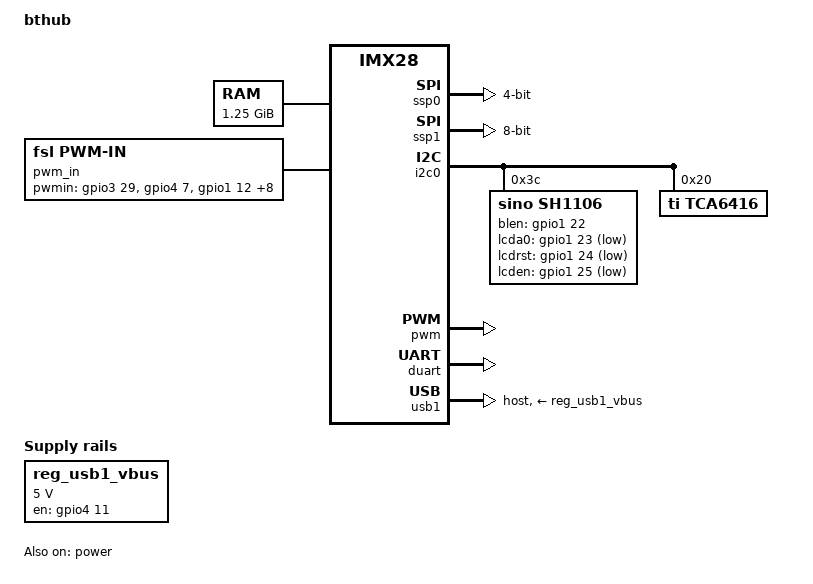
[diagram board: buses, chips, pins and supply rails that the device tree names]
/*
 * Copyright 2012 Freescale Semiconductor, Inc.
 *
 * The code contained herein is licensed under the GNU General Public
 * License. You may obtain a copy of the GNU General Public License
 * Version 2 or later at the following locations:
 *
 * http://www.opensource.org/licenses/gpl-license.html
 * http://www.gnu.org/copyleft/gpl.html
 */

/dts-v1/;
/include/ "imx28.dtsi"

/ {
	model = "bthub";
	compatible = "intelgine,whitetiger", "fsl,imx28";

	memory {
		reg = <0x40000000 0x50000000>;
	};

	apb@80000000 {
		apbh@80000000 {
			ssp0: ssp@80010000 {
				compatible = "fsl,imx28-mmc";
				pinctrl-names = "default";
				pinctrl-0 = <&mmc0_4bit_pins_wt
					&mmc0_sck_cfg>;
				bus-width = <4>;
				status = "okay";
			};

			ssp1: ssp@80012000 {
				compatible = "fsl,imx28-mmc";
				pinctrl-names = "default";
				pinctrl-0 = <&mmc1_8bit_pins_a
					&mmc1_sck_cfg>;
				bus-width = <8>;
				mmc-reset-gpios = <&gpio0 28 1>;
				mmc-reset-duration = <5>;
				status = "okay";
			};

			pinctrl@80018000 {
				pinctrl-names = "default";
				pinctrl-0 = <&hog_pins_a>;
				/*ext-supply = <&reg_ext_3v3>;*/

				hog_pins_a: hog@0 {
					reg = <0>;
					fsl,pinmux-ids = <
						0x3103 /* MX28_PAD_PWM3__GPIO_3_28 */
					>;
					fsl,drive-strength = <0>;
					fsl,voltage = <1>;
					fsl,pull-up = <0>;
				};

        /*                pwm0        dir0       but0        pwm1        dir1       but1        pwm2        dir2       but2        flyswitch  button        */
        /* pwmin-gpios = <&gpio3 18   &gpio4 4   &gpio1 14   &gpio3 28   &gpio4 6   &gpio1 13   &gpio3 29   &gpio4 7   &gpio1 12   &gpio4 3   &gpio1 15  >; */
				pwm_in_pins: pwm-in@0 {
					reg = <0>;
					fsl,pinmux-ids = <
						0x3123 /* GPIO_3_18, PWM2 */
                        0x4043 /* GPIO_4_4,  DIR2 */
                        0x10e3 /* GPIO_1_14, BUT2 */

						0x31c3 /* GPIO_3_28, PWM3 */
                        0x4063 /* GPIO_4_6,  DIR3 */
                        0x10d3 /* GPIO_1_13, BUT3 */

						0x31d3 /* GPIO_3_29, PWM4 */
                        0x4073 /* GPIO_4_7,  DIR4 */
                        0x10c3 /* GPIO_1_12, BUT4 */

                        0x4033 /* GPIO_4_3,  fly-switch */
                        0x10f3 /* GPIO_1_15, FUNCTION BUTTON */
					>;
					fsl,drive-strength = <3>;
					fsl,voltage = <1>;
					fsl,pull-up = <1>;
				};

				mmc1_8bit_pins_a: mmc1-8bit@0 {
					reg = <0>;
					fsl,pinmux-ids = <
						0x0001 /* MX28_PAD_GPMI_D00__SSP1_D0 */
						0x0011 /* MX28_PAD_GPMI_D01__SSP1_D1 */
						0x0021 /* MX28_PAD_GPMI_D02__SSP1_D2 */
						0x0031 /* MX28_PAD_GPMI_D03__SSP1_D3 */
						0x0041 /* MX28_PAD_GPMI_D04__SSP1_D4 */
						0x0051 /* MX28_PAD_GPMI_D05__SSP1_D5 */
						0x0061 /* MX28_PAD_GPMI_D06__SSP1_D6 */
						0x0071 /* MX28_PAD_GPMI_D07__SSP1_D7 */
						0x0151 /* MX28_PAD_GPMI_RDY1__SSP1_CMD */
						0x0191 /* MX28_PAD_GPMI_WRN__SSP1_SCK */
					>;
					fsl,drive-strength = <0>;
					fsl,voltage = <1>;
					fsl,pull-up = <1>;
				};
				mmc1_sck_cfg: mmc1-sck-cfg {
					fsl,pinmux-ids = <
						0x0191
					>;
					fsl,drive-strength = <1>;
					fsl,pull-up = <0>;
				};
				mmc0_4bit_pins_wt: mmc0-4bit-wt@0 {
					reg = <0>;
					fsl,pinmux-ids = <
						0x2000 /* MX28_PAD_SSP0_DATA0__SSP0_D0 */
						0x2010 /* MX28_PAD_SSP0_DATA1__SSP0_D1 */
						0x2020 /* MX28_PAD_SSP0_DATA2__SSP0_D2 */
						0x2030 /* MX28_PAD_SSP0_DATA3__SSP0_D3 */
						0x2080 /* MX28_PAD_SSP0_CMD__SSP0_CMD */
						0x20a0 /* MX28_PAD_SSP0_SCK__SSP0_SCK */
					>;
					fsl,drive-strength = <1>;
					fsl,voltage = <1>;
					fsl,pull-up = <1>;
				};

				pwm1_pins_a: pwm1@0 {
					reg = <0>;
					fsl,pinmux-ids = <
						0x3110 /* MX28_PAD_PWM1__PWM_1 */
					>;
					fsl,drive-strength = <0>;
					fsl,voltage = <1>;
					fsl,pull-up = <0>;
				};

				autra0duart_pins: autra0duart@0 {
					reg = <0>;
					fsl,pinmux-ids = <
						0x3000 /* MX28_PAD_AUART0_RX__AUART0_RX */
						0x3010 /* MX28_PAD_AUART0_TX__AUART0_TX */
						0x3022 /* MX28_PAD_AUART0_CTS__DUART_RX */
						0x3032 /* MX28_PAD_AUART0_RTS__DUART_TX */
					>;
					fsl,drive-strength = <0>;
					fsl,voltage = <1>;
					fsl,pull-up = <0>;
				};

			};

		};

		apbx@80040000 {

			power: power@80044000 {
				compatible = "fsl,imx28-power";
				status = "okay";
				interrupts = <0 1 2 3 4 5 6>;
				clocks = <&clks 41>; /* lradc clock */
				interrupt-names = "batt_bo", "vddd_bo", "vddio_bo",
					"vdda_bo", "vdd5v_droop", "dcdc4p2_bo", "vdd5v";
			};

            mxs_rtc: rtc@80056000 {
                status = "okay";
            };
			
			i2c0: i2c@80058000 {
				pinctrl-names = "default";
				pinctrl-0 = <&i2c0_pins_a>;
				status = "okay";

                sh1106: disp@3c {
                    compatible   = "sino,sh1106";
                    reg = <0x3c>;
                    blen-gpios   = <&gpio1 22 0>; /* high active */
                    lcda0-gpios  = <&gpio1 23 1>; /* low active */
                    lcdrst-gpios = <&gpio1 24 1>; /* low active */
                    lcden-gpios  = <&gpio1 25 1>; /* low active */
                };

				tca6416: gpio@20 {
					compatible = "ti,tca6416";
					//interrupt-parent = <&gpio0>;
					//interrupts = <16 8>; // MX28_PAD_GPMI_CE0N__GPIO_0_16, active-low level-sensitive 
					reg = <0x20>;
					gpio-controller;
					#gpio-cells = <2>;
					interrupt-controller;
					#interrupt-cells = <2>;
				};
			};

			pwm: pwm@80064000 {
				pinctrl-names = "default";
				pinctrl-0 = <&pwm1_pins_a>;
				status = "okay";
			};

			duart: serial@80074000 {
				pinctrl-names = "default", "off-mode";
				/*pinctrl-names = "default";*/
				pinctrl-0 = <&autra0duart_pins>; /* duart-2line   auart0-2line */
				pinctrl-1 = <&auart0_pins_a>;    /* duart-disable auart0-4line */
				switch-gpios = <&gpio1 25 1>;    /* bank-1 pin-25, low: duart-2line */
				status = "okay";
			};


			usbphy1: usbphy@8007e000 {
				status = "okay";
			};
		};
	};

	ahb@80080000 {

		usb1: usb@80090000 {
			status = "okay";
			dr_mode = "host";
			phy_type = "utmi";
			vbus-supply = <&reg_usb1_vbus>;
			pinctrl-names = "default";
			pinctrl-0 = <&usbphy1_pins_a>;
		};

	};
	regulators {
		compatible = "simple-bus";

		reg_usb1_vbus: usb1_vbus {
			compatible = "regulator-fixed";
			regulator-name = "usb1_vbus";
			regulator-min-microvolt = <5000000>;
			regulator-max-microvolt = <5000000>;
			gpio = <&gpio4 11 0>;
			enable-active-high;
		};
	};


	pwm_in {
		compatible = "fsl,pwm-in";
		pinctrl-names = "default";
		pinctrl-0 = <&pwm_in_pins>;

                    /* pwm0        dir0       but0        pwm1        dir1       but1        pwm2        dir2       but2        flyswitch  button*/
        pwmin-gpios = <&gpio3 29 0 &gpio4 7 0 &gpio1 12 0 &gpio3 18 0 &gpio4 4 0 &gpio1 14 0 &gpio3 28 0 &gpio4 6 1 &gpio1 13 0 &gpio4 3 0 &gpio1 15 0>;
	};
};

